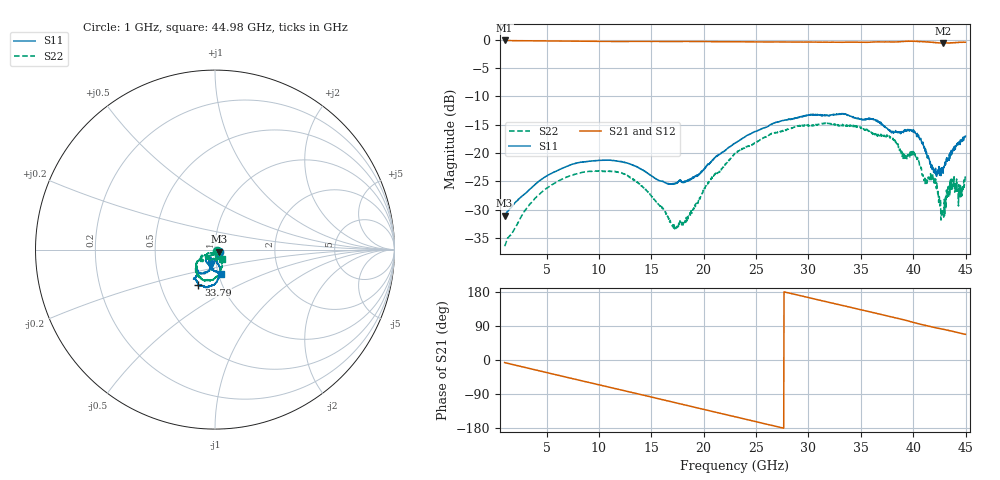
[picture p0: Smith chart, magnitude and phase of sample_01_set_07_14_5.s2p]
!Keysight Technologies,N5247B,MY61255062,A.19.80.06
!Date: Friday, March 13, 2026 17:18:25
!Correction: S11(C  2-Port  )
!S21(C  2-Port  )
!S12(C  2-Port  )
!S22(C  2-Port  )
!S2P File: Measurements: S11, S21, S12, S22:
# Hz S  dB  R 50
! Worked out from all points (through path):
!   1467 points, 1 GHz to 44.98 GHz, reference 50 ohm
!   highest |S21| = -0.15 dB at 1 GHz (marker M1); lowest = -0.6 dB at 42.85 GHz (marker M2)
!   group delay of S21, straight-line fit = 18 ps
!   lowest |S11| = -31.1 dB at 1 GHz (marker M3), VSWR 1.06, Z = 52.6 - j1.28 ohm
!   |S11| at or under -10 dB: start of sweep to end of sweep
!   |S22| runs from -36.5 to -14.8 dB; largest |S21 - S12| = 0.0077
!   S11 on the Smith chart (normalised r, x): 1 GHz: 1.05, -0.03; 33.79 GHz: 0.77, -0.32; 44.98 GHz: 1.03, -0.29
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1e9  -31.11 -25.9  -0.15 -6.9  -0.15 -6.9  -36.47 -29.5
4.09e9  -25.32 -76.4  -0.23 -27.1  -0.23 -27.1  -27.68 -89.5
8.35e9  -21.64 -108.7  -0.30 -54.8  -0.30 -54.8  -23.48 -121.0
1.231e10  -21.65 -127.5  -0.33 -80.2  -0.33 -80.2  -23.70 -143.8
1.567e10  -24.83 -124.2  -0.31 -102.1  -0.31 -102.1  -29.07 -147.1
1.717e10  -25.39 -110.9  -0.32 -111.9  -0.32 -111.9  -32.70 -119.8
1.81e10  -25.16 -97.4  -0.32 -117.9  -0.32 -117.9  -32.05 -94.4
2.047e10  -21.93 -80.2  -0.36 -133.4  -0.36 -133.4  -25.34 -61.7
2.299e10  -18.30 -76.1  -0.37 -149.7  -0.37 -149.7  -20.09 -66.2
2.686e10  -14.59 -88.5  -0.41 -174.9  -0.41 -174.8  -16.45 -85.9
3.034e10  -13.27 -102.7  -0.44 162.6  -0.43 162.6  -15.10 -104.7
3.379e10  -13.32 -115.6  -0.45 140.4  -0.45 140.5  -15.16 -121.5
3.634e10  -14.16 -126.0  -0.42 124.0  -0.42 124.0  -16.61 -136.1
3.766e10  -15.98 -127.1  -0.40 115.3  -0.40 115.4  -17.07 -137.7
3.913e10  -16.02 -132.8  -0.32 105.8  -0.33 106.0  -20.23 -143.7
4.009e10  -16.35 -120.2  -0.29 98.7  -0.30 98.6  -20.24 -147.3
4.111e10  -19.47 -106.0  -0.38 91.5  -0.38 91.5  -24.21 -148.9
4.195e10  -23.42 -102.3  -0.50 86.1  -0.51 86.0  -24.06 -131.8
4.285e10  -23.59 -121.7  -0.63 80.9  -0.59 81.0  -30.95 -92.1
4.36e10  -20.43 -102.5  -0.58 76.6  -0.57 76.8  -26.45 -76.0
4.447e10  -18.52 -87.6  -0.49 70.9  -0.48 71.1  -27.66 -77.3
4.498e10  -17.03 -75.4  -0.46 67.7  -0.44 67.7  -23.85 -54.9
